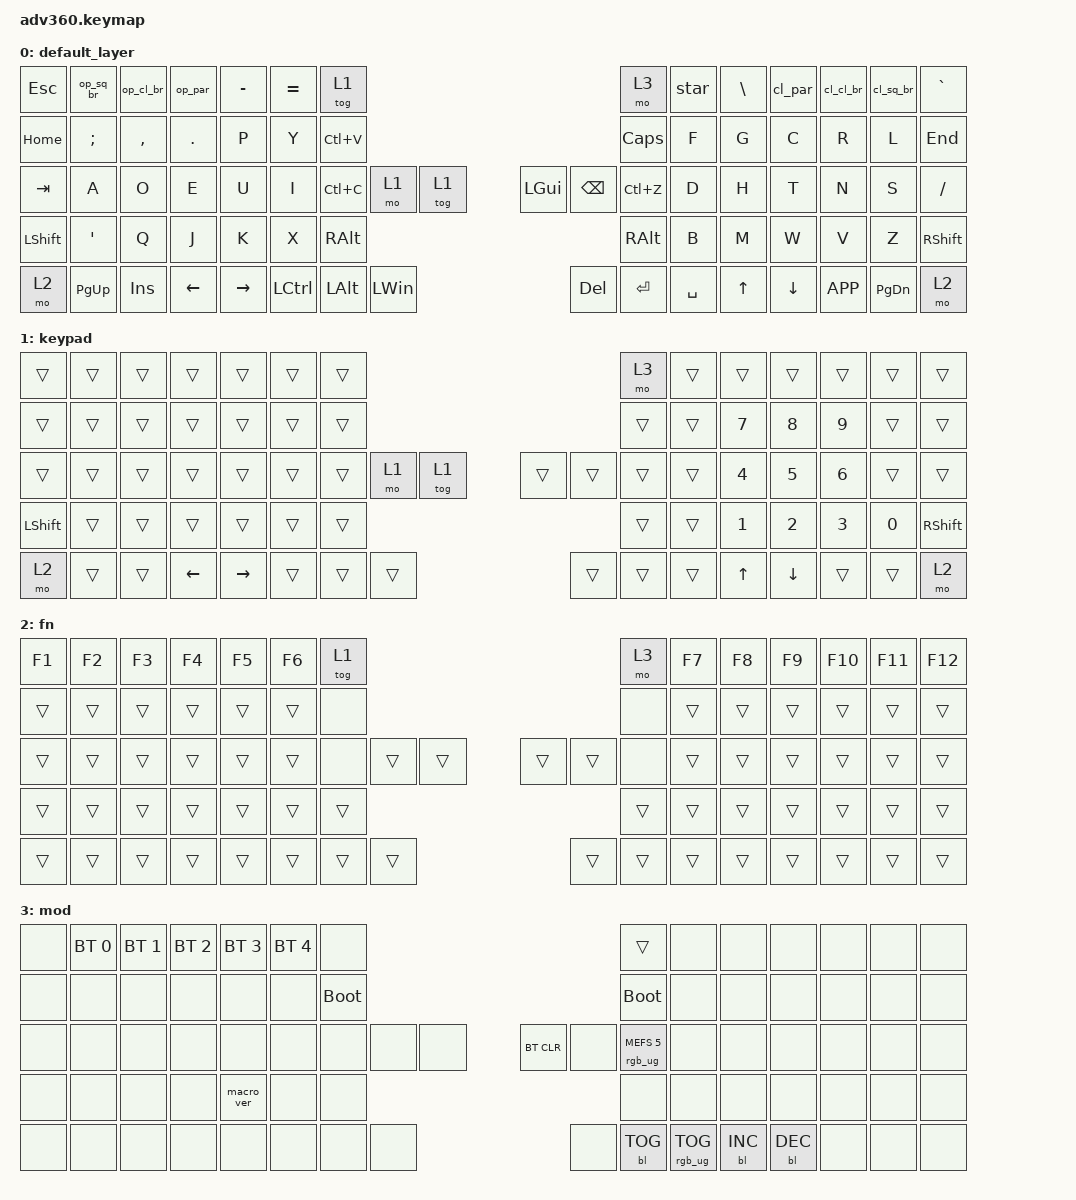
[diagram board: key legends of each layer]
#include <behaviors.dtsi>
#include <dt-bindings/zmk/keys.h>
#include <dt-bindings/zmk/bt.h>
#include <dt-bindings/zmk/rgb.h>
#include <dt-bindings/zmk/backlight.h>

/ {
    behaviors {
      #include "macros.dtsi"
      #include "version.dtsi"
      #ifndef VERSION_MACRO
      macro_ver: macro_ver {
        compatible = "zmk,behavior-macro";
        label = "macro_version";
        #binding-cells = <0>;
        bindings = <&kp RET>;
      };
      #endif

      hm: homerow_mods {
          compatible = "zmk,behavior-hold-tap";
          label = "HOMEROW_MODS";
          #binding-cells = <2>;
          tapping-term-ms = <200>;
          quick_tap_ms = <175>;
          flavor = "tap-preferred";
          bindings = <&kp>, <&kp>;
      };

      op_sq_br: openning_square_bracket {
        compatible = "zmk,behavior-mod-morph";
        label = "openning_square_bracket";
        #binding-cells = <0>;
        bindings = <&kp LBKT>, <&kp CARET>;
        mods = <(MOD_LSFT|MOD_RSFT)>;
      };

      op_cl_br: openning_curly_bracket {
          compatible = "zmk,behavior-mod-morph";
          label = "openning_curly_bracket";
          #binding-cells = <0>;
          bindings = <&kp LBRC>, <&kp AT>;
          mods = <(MOD_LSFT|MOD_RSFT)>;
      };

      op_par: openning_parenthesis {
          compatible = "zmk,behavior-mod-morph";
          label = "openning_parenthesis";
          #binding-cells = <0>;
          bindings = <&kp LPAR>, <&kp HASH>;
          mods = <(MOD_LSFT|MOD_RSFT)>;
      };

      star: star {
          compatible = "zmk,behavior-mod-morph";
          label = "star";
          #binding-cells = <0>;
          bindings = <&kp STAR>, <&kp EXCL>;
          mods = <(MOD_LSFT|MOD_RSFT)>;
      };

      cl_par: closing_parenthesis {
          compatible = "zmk,behavior-mod-morph";
          label = "closing_parenthesis";
          #binding-cells = <0>;
          bindings = <&kp RPAR>, <&kp AMPS>;
          mods = <(MOD_LSFT|MOD_RSFT)>;
      };

      cl_cl_br: closing_curly_bracket {
          compatible = "zmk,behavior-mod-morph";
          label = "closing_curly_bracket";
          #binding-cells = <0>;
          bindings = <&kp RBRC>, <&kp PRCNT>;
          mods = <(MOD_LSFT|MOD_RSFT)>;
      };

      cl_sq_br: closing_square_bracket {
          compatible = "zmk,behavior-mod-morph";
          label = "closing_square_bracket";
          #binding-cells = <0>;
          bindings = <&kp RBKT>, <&kp DLLR>;
          mods = <(MOD_LSFT|MOD_RSFT)>;
      };
      
    };

  keymap {
    compatible = "zmk,keymap";

    default_layer {
      bindings = <
        &kp ESCAPE  &op_sq_br         &op_cl_br  &op_par     &kp MINUS  &kp EQUAL  &tog 1                                                                                 &mo 3      &star  &kp BSLH   &cl_par   &cl_cl_br  &cl_sq_br  &kp GRAVE
        &kp HOME    &kp SEMICOLON     &kp COMMA  &kp PERIOD  &kp P      &kp Y      &kp LC(V)                                                                              &kp CAPS   &kp F  &kp G      &kp C     &kp R      &kp L      &kp END
        &kp TAB     &kp A             &kp O      &kp E       &kp U      &kp I      &kp LC(C)        &mo 1         &tog 1                  &kp LGUI        &kp BACKSPACE   &kp LC(Z)  &kp D  &kp H      &kp T     &kp N      &kp S      &kp FSLH
        &kp LSHFT   &kp SINGLE_QUOTE  &kp Q      &kp J       &kp K      &kp X                              &kp RIGHT_ALT                  &kp RIGHT_ALT                              &kp B  &kp M      &kp W     &kp V      &kp Z      &kp RSHFT
        &mo 2       &kp PG_UP         &kp INS  &kp LEFT    &kp RIGHT             &kp LCTRL   &kp LEFT_ALT   &kp LEFT_WIN                  &kp DELETE      &kp ENTER  &kp SPACE              &kp UP     &kp DOWN  &kp K_APP  &kp PG_DN  &mo 2
      >;
    };
    keypad {
      bindings = <
    &trans  &trans  &trans    &trans     &trans  &trans            &trans                                                   &mo 3  &trans  &trans    &trans  &trans  &trans     &trans
    &trans  &trans  &trans    &trans     &trans  &trans            &trans                                                  &trans  &trans  &kp N7    &kp N8  &kp N9  &trans     &trans
    &trans  &trans  &trans    &trans     &trans  &trans            &trans   &mo 1  &tog 1                  &trans  &trans  &trans  &trans  &kp N4    &kp N5  &kp N6  &trans     &trans
 &kp LSHFT  &trans  &trans    &trans     &trans  &trans                            &trans                  &trans                  &trans  &kp N1    &kp N2  &kp N3  &kp N0  &kp RSHFT
     &mo 2  &trans  &trans  &kp LEFT  &kp RIGHT                    &trans  &trans  &trans                  &trans  &trans  &trans          &kp UP  &kp DOWN  &trans  &trans      &mo 2
      >;
    };
    fn {
      bindings = <
        &kp F1 &kp F2 &kp F3 &kp F4 &kp F5 &kp F6 &tog 1                                           &mo 3 &kp F7 &kp F8 &kp F9 &kp F10 &kp F11 &kp F12
        &trans &trans &trans &trans &trans &trans  &none                                           &none &trans &trans &trans &trans  &trans  &trans
        &trans &trans &trans &trans &trans &trans  &none        &trans &trans &trans &trans        &none &trans &trans &trans &trans  &trans  &trans
        &trans &trans &trans &trans &trans &trans                      &trans &trans                     &trans &trans &trans &trans  &trans  &trans
        &trans &trans &trans &trans &trans               &trans &trans &trans &trans &trans &trans              &trans &trans &trans  &trans  &trans
      >;
    };
    mod {
      bindings = <
        &none &bt BT_SEL 0 &bt BT_SEL 1 &bt BT_SEL 2 &bt BT_SEL 3 &bt BT_SEL 4 &none                                                                     &trans                 &none        &none        &none        &none &none &none
        &none &none        &none        &none        &none        &none        &bootloader                                                               &bootloader            &none        &none        &none        &none &none &none
        &none &none        &none        &none        &none        &none        &none                   &none &none &bt BT_CLR &none                      &rgb_ug RGB_MEFS_CMD 5 &none        &none        &none        &none &none &none
        &none &none        &none        &none        &macro_ver   &none                                      &none &none                                                        &none        &none        &none        &none &none &none
        &none &none        &none        &none        &none                                       &none &none &none &none      &bl BL_TOG &rgb_ug RGB_TOG                                     &bl BL_INC   &bl BL_DEC   &none &none &none
      >;
    };
  };
};
